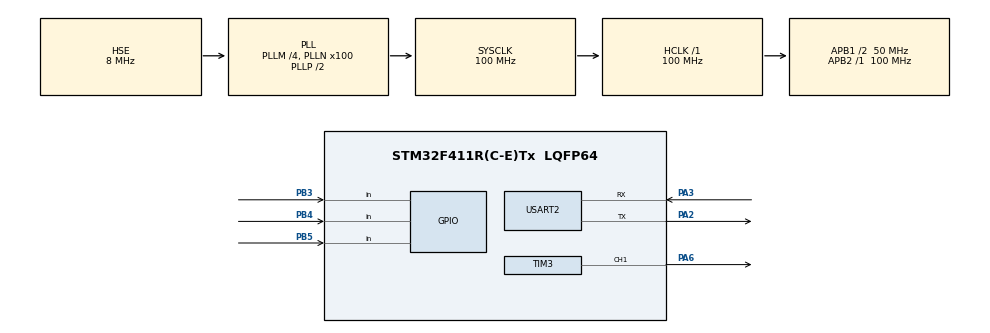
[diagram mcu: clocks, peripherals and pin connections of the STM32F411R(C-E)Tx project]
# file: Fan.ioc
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Mcu.Family=STM32F4
Mcu.Name=STM32F411R(C-E)Tx
Mcu.Package=LQFP64
NVIC.PriorityGroup=NVIC_PRIORITYGROUP_4
NVIC.USART2_IRQn=true\:0\:0\:false\:false\:true\:true\:true\:true
PA13.Mode=Serial_Wire
PA13.Signal=SYS_JTMS-SWDIO
PA14.Mode=Serial_Wire
PA14.Signal=SYS_JTCK-SWCLK
PA2.Mode=Asynchronous
PA2.Signal=USART2_TX
PA3.Mode=Asynchronous
PA3.Signal=USART2_RX
PA6.Signal=S_TIM3_CH1
PB3.Signal=GPIO_Input
PB4.Signal=GPIO_Input
PB5.Signal=GPIO_Input
PH0\ -\ OSC_IN.Mode=HSE-External-Oscillator
PH0\ -\ OSC_IN.Signal=RCC_OSC_IN
PH1\ -\ OSC_OUT.Mode=HSE-External-Oscillator
PH1\ -\ OSC_OUT.Signal=RCC_OSC_OUT
ProjectManager.HeapSize=0x200
ProjectManager.StackSize=0x400
ProjectManager.TargetToolchain=STM32CubeIDE
RCC.48MHZClocksFreq_Value=50000000
RCC.AHBFreq_Value=100000000
RCC.APB1CLKDivider=RCC_HCLK_DIV2
RCC.APB1Freq_Value=50000000
RCC.APB1TimFreq_Value=100000000
RCC.APB2Freq_Value=100000000
RCC.APB2TimFreq_Value=100000000
RCC.CortexFreq_Value=100000000
RCC.HCLKFreq_Value=100000000
RCC.HSE_VALUE=8000000
RCC.HSI_VALUE=16000000
RCC.LSE_VALUE=32768
RCC.PLLM=4
RCC.PLLN=100
RCC.PLLSourceVirtual=RCC_PLLSOURCE_HSE
RCC.SYSCLKFreq_VALUE=100000000
RCC.SYSCLKSource=RCC_SYSCLKSOURCE_PLLCLK
RCC.VCOOutputFreq_Value=200000000
SH.S_TIM3_CH1.0=TIM3_CH1,PWM Generation1 CH1
TIM3.Channel-PWM\ Generation1\ CH1=TIM_CHANNEL_1
TIM3.Period=1000-1
TIM3.Prescaler=1000-1
USART2.VirtualMode=VM_ASYNC
VP_TIM3_VS_ClockSourceINT.Mode=Internal
board=custom

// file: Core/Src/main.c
/* USER CODE BEGIN Header */
/**
  ******************************************************************************
  * @file           : main.c
  * @brief          : Main program body
  ******************************************************************************
  * @attention
  *
  * Copyright (c) 2023 STMicroelectronics.
  * All rights reserved.
  *
  * This software is licensed under terms that can be found in the LICENSE file
  * in the root directory of this software component.
  * If no LICENSE file comes with this software, it is provided AS-IS.
  *
  ******************************************************************************
  */
/* USER CODE END Header */
#include "main.h"
#include "tim.h"
#include "usart.h"
#include "gpio.h"

/* USER CODE BEGIN Includes */
#include "button.h"
/* USER CODE END Includes */

/* USER CODE BEGIN PV */
  uint8_t flag = 0;
  GPIO_TypeDef *led_tbl[8] =
      {
          GPIOA,GPIOB,GPIOB,GPIOB,GPIOB,GPIOA,GPIOA,GPIOC
      };
  uint16_t led_tbl_pin[8] =
      {
          GPIO_PIN_10,GPIO_PIN_3,GPIO_PIN_5,GPIO_PIN_4,
          GPIO_PIN_10,GPIO_PIN_8,GPIO_PIN_9,GPIO_PIN_7
      };
  uint8_t rxData[1];
  uint8_t dutyValue;
/* USER CODE END PV */

void SystemClock_Config(void);
/* USER CODE BEGIN PFP */
void HAL_UART_RxCpltCallback(UART_HandleTypeDef *huart)
{
  if(huart->Instance == USART2)
  {
    HAL_UART_Receive_IT(&huart2, rxData, sizeof(rxData));
    HAL_UART_Transmit_IT(&huart2, rxData, sizeof(rxData));
  }
}
/* USER CODE END PFP */

int main(void)
{
  /* USER CODE BEGIN 1 */
  Button shift1,shift2,shift3;
  /* USER CODE END 1 */

  /* MCU Configuration--------------------------------------------------------*/

  /* Reset of all peripherals, Initializes the Flash interface and the Systick. */
  HAL_Init();

  /* USER CODE BEGIN Init */
  Button_Init(&shift1, GPIOB, GPIO_PIN_3);
  Button_Init(&shift2, GPIOB, GPIO_PIN_4);
  Button_Init(&shift3, GPIOB, GPIO_PIN_5);
  /* USER CODE END Init */

  /* Configure the system clock */
  SystemClock_Config();

  /* Initialize all configured peripherals */
  MX_GPIO_Init();
  MX_TIM3_Init();
  MX_USART2_UART_Init();
  /* USER CODE BEGIN 2 */
  HAL_TIM_PWM_Start(&htim3,TIM_CHANNEL_1);
  HAL_UART_Receive_IT(&huart2, rxData, sizeof(rxData));
  /* USER CODE END 2 */

  /* Infinite loop */
  while (1)
  {

    /* USER CODE BEGIN 3 */
//    if(!(HAL_GPIO_ReadPin(GPIOB, GPIO_PIN_3)))
//    {
//      TIM3->CCR1 = 0;
//    }
//    else if(!(HAL_GPIO_ReadPin(GPIOB, GPIO_PIN_4)))
//    {
//      TIM3->CCR1 = 999;
//    }
//    else if(!(HAL_GPIO_ReadPin(GPIOB, GPIO_PIN_5)))
//    {
//      TIM3->CCR1 = 600;
//    }
//    if(Button_getState(&shift1)==ACT_PUSHED)//
//    {
//      TIM3->CCR1 = 0;
//    }
    if(rxData[0]=='a' || rxData[0]=='b' || rxData[0]=='c')
    {
      dutyValue=rxData[0];
      switch(dutyValue)
      {
      case 'a' :
        TIM3->CCR1 = 0;
        break;
      case 'b' :
        TIM3->CCR1 = 600;
        break;
      case 'c' :
        TIM3->CCR1 = 999;
        break;
      }
    }
  }
  /* USER CODE END 3 */
}

void SystemClock_Config(void)
{
  RCC_OscInitTypeDef RCC_OscInitStruct = {0};
  RCC_ClkInitTypeDef RCC_ClkInitStruct = {0};

  /** Configure the main internal regulator output voltage
  */
  __HAL_RCC_PWR_CLK_ENABLE();
  __HAL_PWR_VOLTAGESCALING_CONFIG(PWR_REGULATOR_VOLTAGE_SCALE1);

  /** Initializes the RCC Oscillators according to the specified parameters
  * in the RCC_OscInitTypeDef structure.
  */
  RCC_OscInitStruct.OscillatorType = RCC_OSCILLATORTYPE_HSE;
  RCC_OscInitStruct.HSEState = RCC_HSE_ON;
  RCC_OscInitStruct.PLL.PLLState = RCC_PLL_ON;
  RCC_OscInitStruct.PLL.PLLSource = RCC_PLLSOURCE_HSE;
  RCC_OscInitStruct.PLL.PLLM = 4;
  RCC_OscInitStruct.PLL.PLLN = 100;
  RCC_OscInitStruct.PLL.PLLP = RCC_PLLP_DIV2;
  RCC_OscInitStruct.PLL.PLLQ = 4;
  if (HAL_RCC_OscConfig(&RCC_OscInitStruct) != HAL_OK)
  {
    Error_Handler();
  }

  /** Initializes the CPU, AHB and APB buses clocks
  */
  RCC_ClkInitStruct.ClockType = RCC_CLOCKTYPE_HCLK|RCC_CLOCKTYPE_SYSCLK
                              |RCC_CLOCKTYPE_PCLK1|RCC_CLOCKTYPE_PCLK2;
  RCC_ClkInitStruct.SYSCLKSource = RCC_SYSCLKSOURCE_PLLCLK;
  RCC_ClkInitStruct.AHBCLKDivider = RCC_SYSCLK_DIV1;
  RCC_ClkInitStruct.APB1CLKDivider = RCC_HCLK_DIV2;
  RCC_ClkInitStruct.APB2CLKDivider = RCC_HCLK_DIV1;

  if (HAL_RCC_ClockConfig(&RCC_ClkInitStruct, FLASH_LATENCY_3) != HAL_OK)
  {
    Error_Handler();
  }
}

void Error_Handler(void)
{
  __disable_irq();
  while (1)
  {
  }
}
